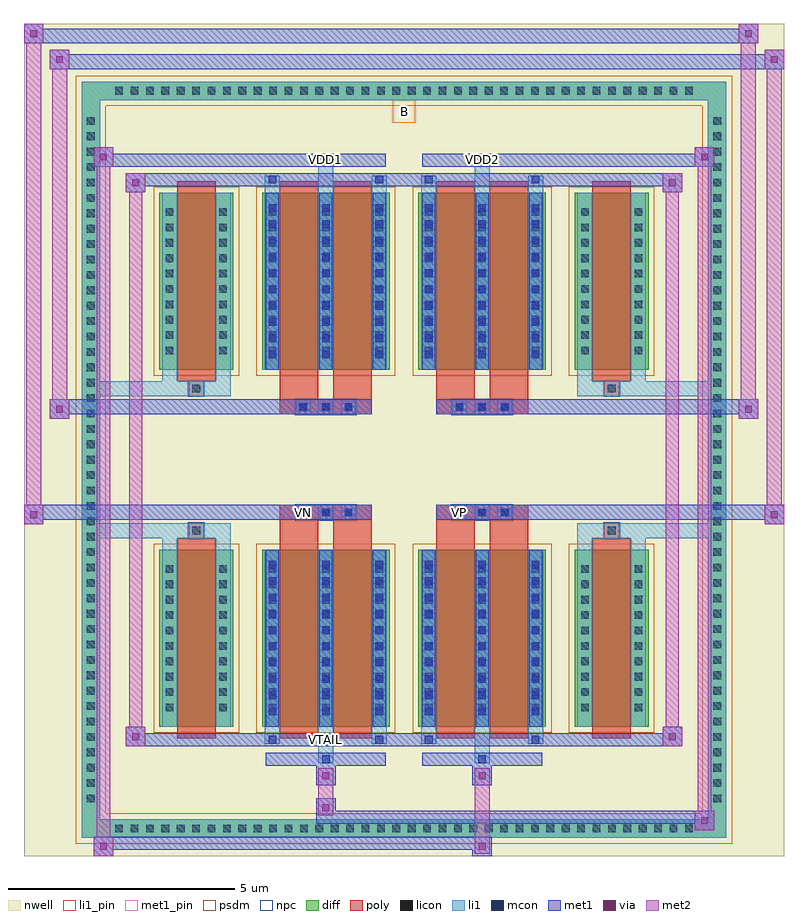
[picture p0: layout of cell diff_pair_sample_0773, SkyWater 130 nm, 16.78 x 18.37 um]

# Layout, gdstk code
import gdstk
lib = gdstk.Library(unit=1e-6, precision=5e-09)
def R(c, l, rs):  # rectangles x0, y0, x1, y1
    for r in rs: c.add(gdstk.rectangle(r[:2], r[2:], *l))
def A(c, l, x, y, w, h, nx, ny, dx, dy):  # array of equal rectangles
    R(c, l, [(x+i*dx, y+j*dy, x+i*dx+w, y+j*dy+h) for i in range(nx) for j in range(ny)])
def P(c, l, *ps):  # polygons
    for p in ps: c.add(gdstk.Polygon(p, *l))
nwell = (64, 20)
diff = (65, 20)
poly = (66, 20)
licon = (66, 44)
li1_pin = (67, 16)
li1 = (67, 20)
mcon = (67, 44)
met1_pin = (68, 16)
met1 = (68, 20)
via = (68, 44)
met2 = (69, 20)
psdm = (94, 20)
npc = (95, 20)

diff_pair_sample_0773 = lib.new_cell('diff_pair_sample_0773')
R(diff_pair_sample_0773, nwell, [(-8.39,-8.75,8.39,9.62), (-5.71,-6.94,-0.01,-0.8), (0.01,-6.94,5.71,-0.8), (-5.71,0.8,-0.01,6.94), (0.01,0.8,5.71,6.94)])
A(diff_pair_sample_0773, diff, -6.495, -8.35, 0.41, 0.41, 38, 2, 0.34, 16.29)
A(diff_pair_sample_0773, diff, -7.12, -7.685, 0.41, 0.41, 1, 45, 0, 0.34)
A(diff_pair_sample_0773, diff, 6.71, -7.685, 0.41, 0.41, 1, 45, 0, 0.34)
R(diff_pair_sample_0773, diff, [(-6.495,-8.35,6.495,-7.94), (-7.12,-7.685,-6.71,7.685), (6.71,-7.685,7.12,7.685), (-5.4,-5.895,-3.77,-1.985), (-3.13,-5.895,-0.32,-1.985), (0.32,-5.895,3.13,-1.985), (3.77,-5.895,5.4,-1.985), (-5.4,1.985,-3.77,5.895), (-3.13,1.985,-0.32,5.895), (0.32,1.985,3.13,5.895), (3.77,1.985,5.4,5.895), (-6.495,7.94,6.495,8.35)])
P(diff_pair_sample_0773, diff, [(7.12,8.35),(-7.12,8.35),(-7.12,-7.94),(-6.71,-7.94),(-6.71,7.94),(6.71,7.94),(6.71,-7.94),(-6.71,-7.94),(-7.12,-7.94),(-7.12,-8.35),(7.12,-8.35)])
A(diff_pair_sample_0773, poly, -2.39, -1.33, 0.33, 0.33, 3, 2, 0.5, 2.33)
A(diff_pair_sample_0773, poly, 1.06, -1.33, 0.33, 0.33, 3, 2, 0.5, 2.33)
R(diff_pair_sample_0773, poly, [(-5.01,-6.145,-4.16,-1.735), (-2.74,-6.145,-1.89,-1.735), (-1.56,-6.145,-0.71,-1.735), (0.71,-6.145,1.56,-1.735), (1.89,-6.145,2.74,-1.735), (4.16,-6.145,5.01,-1.735), (-4.75,-1.735,-4.42,-1.405), (-4.75,-1.735,-4.42,-1.405), (-2.74,-1.735,-1.89,-1.33), (-1.56,-1.735,-0.71,-1.33), (0.71,-1.735,1.56,-1.33), (1.89,-1.735,2.74,-1.33), (4.42,-1.735,4.75,-1.405), (4.42,-1.735,4.75,-1.405), (-2.74,-1.33,-0.71,-1), (0.71,-1.33,2.74,-1), (-2.74,1,-0.71,1.33), (0.71,1,2.74,1.33), (-2.74,1.33,-1.89,1.735), (-1.56,1.33,-0.71,1.735), (0.71,1.33,1.56,1.735), (1.89,1.33,2.74,1.735), (-4.75,1.405,-4.42,1.735), (-4.75,1.405,-4.42,1.735), (4.42,1.405,4.75,1.735), (4.42,1.405,4.75,1.735), (-5.01,1.735,-4.16,6.145), (-2.74,1.735,-1.89,6.145), (-1.56,1.735,-0.71,6.145), (0.71,1.735,1.56,6.145), (1.89,1.735,2.74,6.145), (4.16,1.735,5.01,6.145)])
A(diff_pair_sample_0773, licon, -6.375, -8.23, 0.17, 0.17, 38, 2, 0.34, 16.29)
A(diff_pair_sample_0773, licon, -7, -7.565, 0.17, 0.17, 1, 45, 0, 0.34)
A(diff_pair_sample_0773, licon, 6.83, -7.565, 0.17, 0.17, 1, 45, 0, 0.34)
A(diff_pair_sample_0773, licon, -5.26, -5.555, 0.17, 0.17, 1, 10, 0, 0.34)
A(diff_pair_sample_0773, licon, -4.08, -5.555, 0.17, 0.17, 1, 10, 0, 0.34)
A(diff_pair_sample_0773, licon, -2.99, -5.555, 0.17, 0.17, 3, 10, 1.18, 0.34)
A(diff_pair_sample_0773, licon, 0.46, -5.555, 0.17, 0.17, 3, 10, 1.18, 0.34)
A(diff_pair_sample_0773, licon, 3.91, -5.555, 0.17, 0.17, 1, 10, 0, 0.34)
A(diff_pair_sample_0773, licon, 5.09, -5.555, 0.17, 0.17, 1, 10, 0, 0.34)
A(diff_pair_sample_0773, licon, -2.31, -1.25, 0.17, 0.17, 3, 2, 0.5, 2.33)
A(diff_pair_sample_0773, licon, 1.14, -1.25, 0.17, 0.17, 3, 2, 0.5, 2.33)
A(diff_pair_sample_0773, licon, -5.26, 2.325, 0.17, 0.17, 1, 10, 0, 0.34)
A(diff_pair_sample_0773, licon, -4.08, 2.325, 0.17, 0.17, 1, 10, 0, 0.34)
A(diff_pair_sample_0773, licon, -2.99, 2.325, 0.17, 0.17, 3, 10, 1.18, 0.34)
A(diff_pair_sample_0773, licon, 0.46, 2.325, 0.17, 0.17, 3, 10, 1.18, 0.34)
A(diff_pair_sample_0773, licon, 3.91, 2.325, 0.17, 0.17, 1, 10, 0, 0.34)
A(diff_pair_sample_0773, licon, 5.09, 2.325, 0.17, 0.17, 1, 10, 0, 0.34)
R(diff_pair_sample_0773, licon, [(-4.67,-1.655,-4.5,-1.485), (4.5,-1.655,4.67,-1.485), (-4.67,1.485,-4.5,1.655), (4.5,1.485,4.67,1.655)])
R(diff_pair_sample_0773, li1_pin, [(-0.25,7.44,0.25,7.94)])
A(diff_pair_sample_0773, li1, -6.455, -8.31, 0.33, 0.33, 38, 2, 0.34, 16.29)
A(diff_pair_sample_0773, li1, -7.08, -7.645, 0.33, 0.33, 1, 45, 0, 0.34)
A(diff_pair_sample_0773, li1, 6.75, -7.645, 0.33, 0.33, 1, 45, 0, 0.34)
A(diff_pair_sample_0773, li1, -3.07, -5.895, 0.33, 3.91, 3, 2, 1.18, 7.88)
A(diff_pair_sample_0773, li1, 0.38, -5.895, 0.33, 3.91, 3, 2, 1.18, 7.88)
A(diff_pair_sample_0773, li1, -2.99, -5.645, 0.17, 0.17, 3, 10, 1.18, 0.36)
A(diff_pair_sample_0773, li1, -2.99, -5.645, 0.17, 3.41, 3, 2, 1.18, 7.88)
A(diff_pair_sample_0773, li1, 0.46, -5.645, 0.17, 0.17, 3, 10, 1.18, 0.36)
A(diff_pair_sample_0773, li1, 0.46, -5.645, 0.17, 3.41, 3, 2, 1.18, 7.88)
A(diff_pair_sample_0773, li1, -5.34, -5.635, 0.33, 0.33, 1, 10, 0, 0.34)
A(diff_pair_sample_0773, li1, -4.16, -5.635, 0.33, 0.33, 1, 10, 0, 0.34)
A(diff_pair_sample_0773, li1, -3.07, -5.635, 0.33, 0.33, 3, 10, 1.18, 0.34)
A(diff_pair_sample_0773, li1, 0.38, -5.635, 0.33, 0.33, 3, 10, 1.18, 0.34)
A(diff_pair_sample_0773, li1, 3.83, -5.635, 0.33, 0.33, 1, 10, 0, 0.34)
A(diff_pair_sample_0773, li1, 5.01, -5.635, 0.33, 0.33, 1, 10, 0, 0.34)
A(diff_pair_sample_0773, li1, -2.39, -1.33, 0.33, 0.33, 3, 2, 0.5, 2.33)
A(diff_pair_sample_0773, li1, 1.06, -1.33, 0.33, 0.33, 3, 2, 0.5, 2.33)
A(diff_pair_sample_0773, li1, -2.99, 2.235, 0.17, 0.17, 3, 10, 1.18, 0.36)
A(diff_pair_sample_0773, li1, 0.46, 2.235, 0.17, 0.17, 3, 10, 1.18, 0.36)
A(diff_pair_sample_0773, li1, -5.34, 2.245, 0.33, 0.33, 1, 10, 0, 0.34)
A(diff_pair_sample_0773, li1, -4.16, 2.245, 0.33, 0.33, 1, 10, 0, 0.34)
A(diff_pair_sample_0773, li1, -3.07, 2.245, 0.33, 0.33, 3, 10, 1.18, 0.34)
A(diff_pair_sample_0773, li1, 0.38, 2.245, 0.33, 0.33, 3, 10, 1.18, 0.34)
A(diff_pair_sample_0773, li1, 3.83, 2.245, 0.33, 0.33, 1, 10, 0, 0.34)
A(diff_pair_sample_0773, li1, 5.01, 2.245, 0.33, 0.33, 1, 10, 0, 0.34)
R(diff_pair_sample_0773, li1, [(-7.12,-8.35,-6.71,-7.94), (-7.12,-8.35,-6.71,-7.94), (-6.71,-8.35,6.71,-7.94), (6.71,-8.35,7.12,-7.94), (6.71,-8.35,7.12,-7.94), (-7.12,-7.94,-6.71,7.94), (6.71,-7.94,7.12,7.94), (-1.89,-6.7,-1.56,-5.895), (-1.81,-6.7,-1.64,-6.53), (1.56,-6.7,1.89,-5.895), (1.64,-6.7,1.81,-6.53), (-3.07,-6.27,-2.74,-5.895), (-2.99,-6.27,-2.82,-6.1), (-0.71,-6.27,-0.38,-5.895), (-0.63,-6.27,-0.46,-6.1), (0.38,-6.27,0.71,-5.895), (0.46,-6.27,0.63,-6.1), (2.74,-6.27,3.07,-5.895), (2.82,-6.27,2.99,-6.1), (-5.34,-5.895,-5.01,-1.985), (-4.16,-5.895,-3.83,-1.985), (3.83,-5.895,4.16,-1.985), (5.01,-5.895,5.34,-1.985), (-5.34,-1.985,-5.01,-1.405), (-4.16,-1.985,-3.83,-1.405), (3.83,-1.985,4.16,-1.405), (5.01,-1.985,5.34,-1.405), (-7.12,-1.735,-4.75,-1.405), (-5.34,-1.735,-4.75,-1.405), (-4.75,-1.735,-4.42,-1.405), (-4.42,-1.735,-3.83,-1.405), (3.83,-1.735,4.42,-1.405), (4.42,-1.735,4.75,-1.405), (4.42,-1.735,7.12,-1.405), (4.75,-1.735,5.34,-1.405), (-7.12,1.405,-4.75,1.735), (-5.34,1.405,-4.75,1.735), (-5.34,1.405,-5.01,1.985), (-4.75,1.405,-4.42,1.735), (-4.42,1.405,-3.83,1.735), (-4.16,1.405,-3.83,1.985), (3.83,1.405,4.42,1.735), (3.83,1.405,4.16,1.985), (4.42,1.405,4.75,1.735), (4.42,1.405,7.12,1.735), (4.75,1.405,5.34,1.735), (5.01,1.405,5.34,1.985), (-5.34,1.985,-5.01,5.895), (-4.16,1.985,-3.83,5.895), (3.83,1.985,4.16,5.895), (5.01,1.985,5.34,5.895), (-3.07,5.895,-2.74,6.27), (-1.89,5.895,-1.56,6.7), (-0.71,5.895,-0.38,6.27), (0.38,5.895,0.71,6.27), (1.56,5.895,1.89,6.7), (2.74,5.895,3.07,6.27), (-2.99,6.1,-2.82,6.27), (-0.63,6.1,-0.46,6.27), (0.46,6.1,0.63,6.27), (2.82,6.1,2.99,6.27), (-1.81,6.53,-1.64,6.7), (1.64,6.53,1.81,6.7), (-7.12,7.94,-6.71,8.35), (-7.12,7.94,-6.71,8.35), (-6.71,7.94,6.71,8.35), (6.71,7.94,7.12,8.35), (6.71,7.94,7.12,8.35)])
A(diff_pair_sample_0773, mcon, -2.99, -5.645, 0.17, 0.17, 3, 10, 1.18, 0.36)
A(diff_pair_sample_0773, mcon, 0.46, -5.645, 0.17, 0.17, 3, 10, 1.18, 0.36)
A(diff_pair_sample_0773, mcon, -2.31, -1.25, 0.17, 0.17, 3, 2, 0.5, 2.33)
A(diff_pair_sample_0773, mcon, 1.14, -1.25, 0.17, 0.17, 3, 2, 0.5, 2.33)
A(diff_pair_sample_0773, mcon, -2.99, 2.235, 0.17, 0.17, 3, 10, 1.18, 0.36)
A(diff_pair_sample_0773, mcon, 0.46, 2.235, 0.17, 0.17, 3, 10, 1.18, 0.36)
R(diff_pair_sample_0773, mcon, [(-1.81,-6.7,-1.64,-6.53), (1.64,-6.7,1.81,-6.53), (-2.99,-6.27,-2.82,-6.1), (-0.63,-6.27,-0.46,-6.1), (0.46,-6.27,0.63,-6.1), (2.82,-6.27,2.99,-6.1), (-2.99,6.1,-2.82,6.27), (-0.63,6.1,-0.46,6.27), (0.46,6.1,0.63,6.27), (2.82,6.1,2.99,6.27), (-1.81,6.53,-1.64,6.7), (1.64,6.53,1.81,6.7)])
R(diff_pair_sample_0773, met1_pin, [(-1.86,-6.31,-1.59,-6.04), (-2.36,-1.29,-2.09,-1.02), (1.09,-1.29,1.36,-1.02), (-1.86,6.49,-1.59,6.76), (1.59,6.49,1.86,6.76)])
A(diff_pair_sample_0773, met1, -3.05, -5.895, 0.29, 3.91, 3, 2, 1.18, 7.88)
A(diff_pair_sample_0773, met1, 0.4, -5.895, 0.29, 3.91, 3, 2, 1.18, 7.88)
A(diff_pair_sample_0773, met1, -3.05, -5.705, 0.29, 0.29, 3, 10, 1.18, 0.36)
A(diff_pair_sample_0773, met1, 0.4, -5.705, 0.29, 0.29, 3, 10, 1.18, 0.36)
A(diff_pair_sample_0773, met1, -2.37, -1.31, 0.29, 0.29, 3, 2, 0.5, 2.33)
A(diff_pair_sample_0773, met1, 1.08, -1.31, 0.29, 0.29, 3, 2, 0.5, 2.33)
A(diff_pair_sample_0773, met1, -3.05, 2.175, 0.29, 0.29, 3, 10, 1.18, 0.36)
A(diff_pair_sample_0773, met1, 0.4, 2.175, 0.29, 0.29, 3, 10, 1.18, 0.36)
R(diff_pair_sample_0773, met1, [(-6.85,-8.75,-6.42,-8.32), (1.51,-8.75,1.94,-8.32), (-6.85,-8.61,1.94,-8.32), (6.42,-8.18,6.85,-7.75), (-1.94,-8.04,6.85,-7.75), (-1.94,-7.9,-1.51,-7.47), (-1.94,-7.19,-1.51,-6.76), (1.51,-7.19,1.94,-6.76), (-3.05,-6.76,-0.4,-6.47), (-1.87,-6.76,-1.58,-6.47), (0.4,-6.76,3.05,-6.47), (1.58,-6.76,1.87,-6.47), (-6.14,-6.33,-5.71,-5.9), (-6.14,-6.33,-3.05,-6.04), (-3.05,-6.33,-2.76,-6.04), (-3.05,-6.33,-0.4,-6.04), (-0.69,-6.33,-0.4,-6.04), (-0.4,-6.33,0.4,-6.04), (0.4,-6.33,0.69,-6.04), (0.4,-6.33,3.05,-6.04), (2.76,-6.33,3.05,-6.04), (3.05,-6.33,6.14,-6.04), (5.71,-6.33,6.14,-5.9), (-8.39,-1.43,-7.96,-1), (7.96,-1.43,8.39,-1), (-8.39,-1.33,-0.71,-1), (-2.74,-1.33,-0.71,-1), (0.71,-1.33,2.74,-1), (0.71,-1.33,8.39,-1), (-7.82,0.9,-7.39,1.33), (7.39,0.9,7.82,1.33), (-7.82,1,-2.74,1.33), (-2.74,1,-0.71,1.33), (0.71,1,2.74,1.33), (2.74,1,7.82,1.33), (-6.14,5.9,-5.71,6.33), (5.71,5.9,6.14,6.33), (-6.14,6.04,-3.05,6.33), (-3.05,6.04,-2.76,6.33), (-3.05,6.04,-0.4,6.33), (-0.69,6.04,-0.4,6.33), (-0.4,6.04,0.4,6.33), (0.4,6.04,0.69,6.33), (0.4,6.04,3.05,6.33), (2.76,6.04,3.05,6.33), (3.05,6.04,6.14,6.33), (-6.85,6.47,-6.42,6.9), (-6.85,6.47,-3.05,6.76), (-3.05,6.47,-0.4,6.76), (-1.87,6.47,-1.58,6.76), (0.4,6.47,3.05,6.76), (1.58,6.47,1.87,6.76), (3.05,6.47,6.85,6.76), (6.42,6.47,6.85,6.9), (-7.82,8.62,-7.39,9.05), (-7.82,8.62,-5.71,8.95), (-5.71,8.62,5.71,8.95), (5.71,8.62,8.39,8.95), (7.96,8.62,8.39,9.05), (-8.39,9.19,-7.96,9.62), (-8.39,9.19,-5.71,9.52), (-5.71,9.19,5.71,9.52), (5.71,9.19,7.82,9.52), (7.39,9.19,7.82,9.62)])
R(diff_pair_sample_0773, via, [(-6.71,-8.61,-6.56,-8.46), (1.65,-8.61,1.8,-8.46), (6.56,-8.04,6.71,-7.89), (-1.8,-7.76,-1.65,-7.61), (-1.8,-7.05,-1.65,-6.9), (1.65,-7.05,1.8,-6.9), (-6,-6.19,-5.85,-6.04), (5.85,-6.19,6,-6.04), (-8.25,-1.29,-8.1,-1.14), (8.1,-1.29,8.25,-1.14), (-7.68,1.04,-7.53,1.19), (7.53,1.04,7.68,1.19), (-6,6.04,-5.85,6.19), (5.85,6.04,6,6.19), (-6.71,6.61,-6.56,6.76), (6.56,6.61,6.71,6.76), (-7.68,8.76,-7.53,8.91), (8.1,8.76,8.25,8.91), (-8.25,9.33,-8.1,9.48), (7.53,9.33,7.68,9.48)])
R(diff_pair_sample_0773, met2, [(-6.85,-8.75,-6.42,-8.32), (-6.78,-8.75,-6.49,6.9), (-6.49,-8.75,-6.42,-8.32), (-6.8,-8.7,-6.47,-8.37), (1.56,-8.7,1.89,-8.37), (1.56,-8.37,1.89,-7.14), (6.42,-8.18,6.85,-7.75), (6.49,-8.18,6.78,6.9), (6.78,-8.18,6.85,-7.75), (6.47,-8.13,6.8,-7.8), (-1.89,-7.85,-1.56,-7.52), (-1.89,-7.52,-1.56,-7.14), (-1.89,-7.14,-1.56,-6.81), (1.56,-7.14,1.89,-6.81), (-6.14,-6.33,-5.71,-5.9), (-6.07,-6.33,-5.78,6.33), (-5.78,-6.33,-5.71,-5.9), (5.71,-6.33,6.14,-5.9), (5.78,-6.33,6.07,6.33), (6.07,-6.33,6.14,-5.9), (-6.09,-6.28,-5.76,-5.95), (5.76,-6.28,6.09,-5.95), (-8.39,-1.43,-7.96,-1), (-8.34,-1.43,-8.01,9.62), (-8.01,-1.43,-7.96,-1), (7.96,-1.43,8.39,-1), (8.01,-1.43,8.34,9.05), (8.34,-1.43,8.39,-1), (-8.34,-1.38,-8.01,-1.05), (8.01,-1.38,8.34,-1.05), (-7.82,0.9,-7.39,1.33), (-7.77,0.9,-7.44,9.05), (-7.44,0.9,-7.39,1.33), (7.39,0.9,7.82,1.33), (7.44,0.9,7.77,9.62), (7.77,0.9,7.82,1.33), (-7.77,0.95,-7.44,1.28), (7.44,0.95,7.77,1.28), (-6.14,5.9,-5.71,6.33), (-5.78,5.9,-5.71,6.33), (5.71,5.9,6.14,6.33), (6.07,5.9,6.14,6.33), (-6.09,5.95,-5.76,6.28), (5.76,5.95,6.09,6.28), (-6.85,6.47,-6.42,6.9), (-6.49,6.47,-6.42,6.9), (6.42,6.47,6.85,6.9), (6.78,6.47,6.85,6.9), (-6.8,6.52,-6.47,6.85), (6.47,6.52,6.8,6.85), (-7.82,8.62,-7.39,9.05), (-7.44,8.62,-7.39,9.05), (7.96,8.62,8.39,9.05), (8.34,8.62,8.39,9.05), (-7.77,8.67,-7.44,9), (8.01,8.67,8.34,9), (-8.39,9.19,-7.96,9.62), (-8.01,9.19,-7.96,9.62), (7.39,9.19,7.82,9.62), (7.77,9.19,7.82,9.62), (-8.34,9.24,-8.01,9.57), (7.44,9.24,7.77,9.57)])
R(diff_pair_sample_0773, psdm, [(-5.53,-6.025,-3.64,-1.855), (-3.26,-6.025,-0.19,-1.855), (0.19,-6.025,3.26,-1.855), (3.64,-6.025,5.53,-1.855), (-5.53,1.855,-3.64,6.025), (-3.26,1.855,-0.19,6.025), (0.19,1.855,3.26,6.025), (3.64,1.855,5.53,6.025)])
P(diff_pair_sample_0773, psdm, [(7.25,8.48),(-7.25,8.48),(-7.25,-7.81),(-6.58,-7.81),(-6.58,7.81),(6.58,7.81),(6.58,-7.81),(-6.58,-7.81),(-7.25,-7.81),(-7.25,-8.48),(7.25,-8.48)])
A(diff_pair_sample_0773, npc, -2.41, -1.35, 0.37, 0.37, 3, 2, 0.5, 2.33)
A(diff_pair_sample_0773, npc, 1.04, -1.35, 0.37, 0.37, 3, 2, 0.5, 2.33)
R(diff_pair_sample_0773, npc, [(-4.77,-1.755,-4.4,-1.385), (4.4,-1.755,4.77,-1.385), (-2.41,-1.35,-1.54,-0.98), (-2.41,-1.35,-1.54,-0.98), (-1.91,-1.35,-1.04,-0.98), (-1.91,-1.35,-1.04,-0.98), (1.04,-1.35,1.91,-0.98), (1.04,-1.35,1.91,-0.98), (1.54,-1.35,2.41,-0.98), (1.54,-1.35,2.41,-0.98), (-2.41,0.98,-1.54,1.35), (-2.41,0.98,-1.54,1.35), (-1.91,0.98,-1.04,1.35), (-1.91,0.98,-1.04,1.35), (1.04,0.98,1.91,1.35), (1.04,0.98,1.91,1.35), (1.54,0.98,2.41,1.35), (1.54,0.98,2.41,1.35), (-4.77,1.385,-4.4,1.755), (4.4,1.385,4.77,1.755)])
diff_pair_sample_0773.add(gdstk.Label('VTAIL', (-1.725,-6.175), layer=68, texttype=5))
diff_pair_sample_0773.add(gdstk.Label('VN', (-2.225,-1.155), layer=68, texttype=5))
diff_pair_sample_0773.add(gdstk.Label('VP', (1.225,-1.155), layer=68, texttype=5))
diff_pair_sample_0773.add(gdstk.Label('B', (0,7.69), layer=67, texttype=5))
diff_pair_sample_0773.add(gdstk.Label('VDD2', (1.725,6.625), layer=68, texttype=5))
diff_pair_sample_0773.add(gdstk.Label('VDD1', (-1.725,6.625), layer=68, texttype=5))

lib.write_gds('diff_pair_sample_0773.gds')
